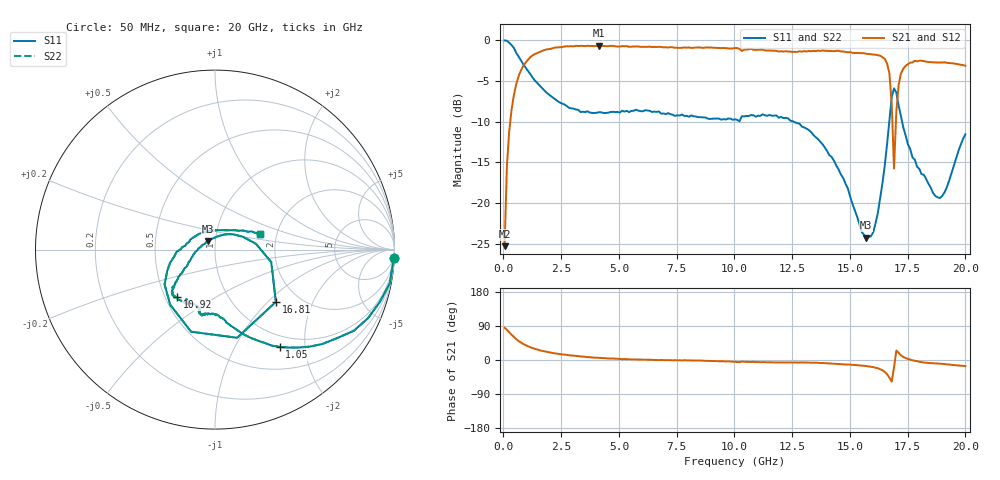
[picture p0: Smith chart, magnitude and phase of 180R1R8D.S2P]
!  American Technical Ceramics  Date:  3/13/98
!  One Norden Lane
!  Huntington Station,  NY.  11746-2102
!  Tel:  (516) 547-5700  Fax:  (516) 547-5748
!  Part Number  180r1r8d
!  Description: Porcelain, High Q, Low ESR
!  Application: Bypass, Coupling, Timing, Feedback
!  Tuning, Impedance Match, Blocking
# GHZ S DB R 50
! Freq  |S11|  S11 Ph  |S21|  S21 Ph  |S12|  S12 Ph  |S22|  S22 Ph
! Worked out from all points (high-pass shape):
!   201 points, 50 MHz to 20 GHz, reference 50 ohm
!   highest |S21| = -0.66 dB at 4.14 GHz (marker M1); lowest = -25.3 dB at 50 MHz (marker M2)
!   |S21| within 3 dB of the highest: 766.1 MHz to 16.67 GHz (15.91 GHz wide, 182 % of centre); 17.28 GHz to end of sweep
!   lowest |S11| = -24.3 dB at 15.71 GHz (marker M3), VSWR 1.13, Z = 45.9 + j4.25 ohm
!   |S11| at or under -10 dB: 12.55 GHz to 16.71 GHz (4.152 GHz wide, 28.4 % of centre); 17.26 GHz to end of sweep
!   |S22| runs from -24.3 to 0.0 dB; largest |S21 - S12| = 0
!   S11 on the Smith chart (normalised r, x): 50 MHz: 3, -44; 1.05 GHz: 0.82, -1.54; 10.92 GHz: 0.58, -0.34; 16.81 GHz: 1.53, -1.12; 20 GHz: 1.63, +0.30
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0.05  -0.03 -2.6  -25.31 85.1  -25.31 85.1  -0.03 -2.6
0.15  -0.07 -10.9  -15.39 79.6  -15.39 79.6  -0.07 -10.9
0.35  -0.59 -24.1  -8.57 66.8  -8.57 66.8  -0.59 -24.1
1.05  -3.73 -56.3  -2.44 36.5  -2.44 36.5  -3.73 -56.3
1.85  -6.40 -73.3  -1.14 21.9  -1.14 21.9  -6.40 -73.3
3.44  -8.79 -89.0  -0.70 9.0  -0.70 9.0  -8.79 -89.0
4.14  -8.84 -93.9  -0.66 5.5  -0.66 5.5  -8.84 -93.9
6.73  -8.76 -104.0  -0.81 -0.3  -0.81 -0.3  -8.76 -104.0
10.03  -9.72 -119.2  -0.96 -4.5  -0.96 -4.5  -9.72 -119.2
10.92  -9.40 -128.6  -1.20 -5.6  -1.20 -5.6  -9.40 -128.6
13.42  -11.65 -141.9  -1.31 -6.9  -1.31 -6.9  -11.65 -141.9
15.71  -24.26 131.2  -1.67 -16.0  -1.67 -16.0  -24.26 131.2
16.21  -21.23 66.6  -1.85 -21.7  -1.85 -21.7  -21.23 66.6
16.51  -15.36 24.9  -2.29 -31.4  -2.29 -31.4  -15.36 24.9
16.71  -9.87 -12.5  -4.09 -46.9  -4.09 -46.9  -9.87 -12.5
16.81  -6.99 -40.7  -7.82 -57.0  -7.82 -57.0  -6.99 -40.7
16.91  -5.91 -75.9  -15.76 -19.1  -15.76 -19.1  -5.91 -75.9
17.01  -6.44 -106.2  -8.80 25.0  -8.80 25.0  -6.44 -106.2
17.21  -9.33 -145.3  -4.08 12.2  -4.08 12.2  -9.33 -145.3
17.61  -13.37 -176.8  -2.76 1.1  -2.76 1.1  -13.37 -176.8
18.8  -19.32 103.0  -2.75 -9.4  -2.75 -9.4  -19.32 103.0
20  -11.56 18.8  -3.13 -16.2  -3.13 -16.2  -11.56 18.8
